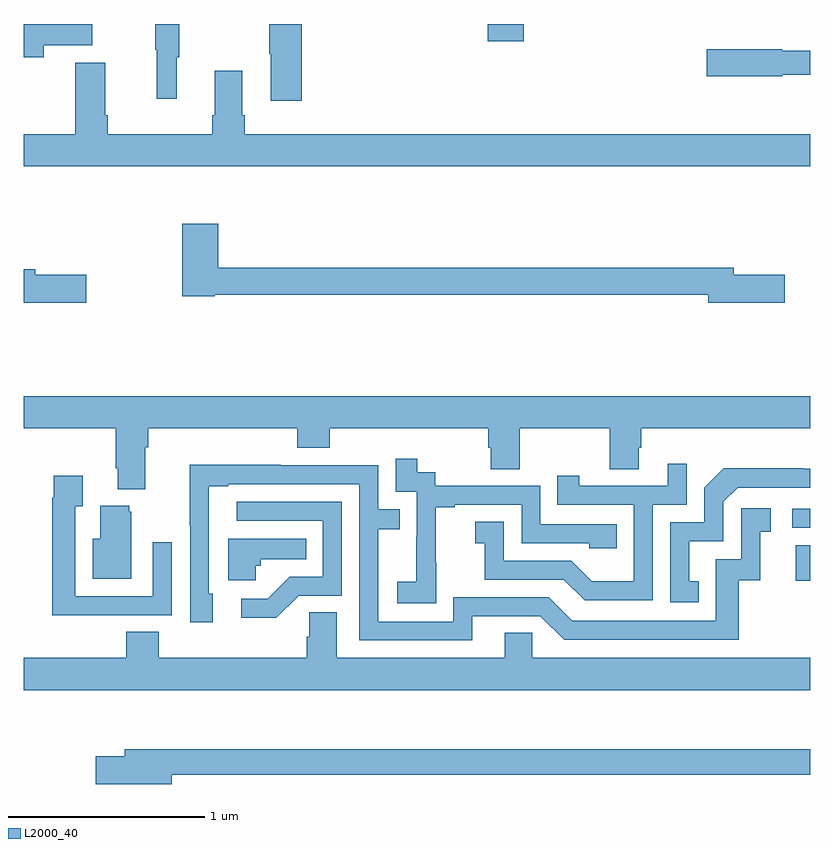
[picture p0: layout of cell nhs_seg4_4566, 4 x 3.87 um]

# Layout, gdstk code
import gdstk
lib = gdstk.Library(unit=1e-6, precision=1e-09)
def R(c, l, rs):  # rectangles x0, y0, x1, y1
    for r in rs: c.add(gdstk.rectangle(r[:2], r[2:], *l))
def P(c, l, *ps):  # polygons
    for p in ps: c.add(gdstk.Polygon(p, *l))
L2000_40 = (2000, 40)

nhs_seg4_4566 = lib.new_cell('nhs_seg4_4566')
R(nhs_seg4_4566, L2000_40, [(360.926,772.068,361,772.249), (360.909,772.338,361,772.434), (359.36,774.813,359.543,774.9)])
P(nhs_seg4_4566, L2000_40, [(357.101,774.791),(357.349,774.791),(357.349,774.9),(357,774.9),(357,774.732),(357.101,774.732)],
  [(358.415,774.9),(358.249,774.9),(358.249,774.748),(358.256,774.748),(358.256,774.51),(358.415,774.51)],
  [(357.779,774.731),(357.79,774.731),(357.79,774.9),(357.669,774.9),(357.669,774.768),(357.676,774.768),(357.676,774.519),(357.779,774.519)],
  [(360.858,774.642),(361,774.642),(361,774.763),(360.858,774.763),(360.858,774.771),(360.474,774.771),(360.474,774.634),(360.858,774.634)],
  [(361,774.34),(358.124,774.34),(358.124,774.436),(358.111,774.436),(358.111,774.661),(357.971,774.661),(357.971,774.436),(357.959,774.436),(357.959,774.34),(357.428,774.34),(357.428,774.436),(357.415,774.436),(357.415,774.703),(357.263,774.703),(357.263,774.34),(357,774.34),(357,774.176),(361,774.176)],
  [(360.871,773.624),(360.61,773.624),(360.61,773.66),(357.989,773.66),(357.989,773.884),(357.806,773.884),(357.806,773.516),(357.972,773.516),(357.972,773.524),(360.482,773.524),(360.482,773.482),(360.871,773.482)],
  [(357.319,773.624),(357.058,773.624),(357.058,773.653),(357,773.653),(357,773.482),(357.319,773.482)],
  [(357.619,772.748),(357.632,772.748),(357.632,772.844),(358.391,772.844),(358.391,772.745),(358.556,772.745),(358.556,772.844),(359.363,772.844),(359.363,772.746),(359.375,772.746),(359.375,772.636),(359.523,772.636),(359.523,772.844),(359.98,772.844),(359.98,772.636),(360.127,772.636),(360.127,772.746),(360.14,772.746),(360.14,772.844),(361,772.844),(361,773.008),(357,773.008),(357,772.844),(357.467,772.844),(357.467,772.642),(357.479,772.642),(357.479,772.535),(357.619,772.535)],
  [(359.097,772.159),(359.096,772.159),(359.096,772.443),(359.191,772.443),(359.191,772.455),(359.532,772.455),(359.532,772.26),(359.877,772.26),(359.877,772.233),(360.017,772.233),(360.017,772.356),(359.628,772.356),(359.628,772.551),(359.094,772.551),(359.094,772.62),(359.002,772.62),(359.002,772.69),(358.893,772.69),(358.893,772.521),(358.998,772.521),(358.998,772.292),(358.997,772.292),(358.997,772.063),(358.899,772.063),(358.899,771.953),(359.097,771.953)],
  [(360.198,772.455),(360.372,772.455),(360.372,772.663),(360.275,772.663),(360.275,772.551),(359.824,772.551),(359.824,772.603),(359.713,772.603),(359.713,772.455),(360.102,772.455),(360.102,772.066),(359.888,772.066),(359.784,772.17),(359.442,772.17),(359.442,772.369),(359.295,772.369),(359.295,772.259),(359.344,772.259),(359.344,772.074),(359.747,772.074),(359.852,771.969),(360.198,771.969)],
  [(359.281,771.888),(359.628,771.888),(359.748,771.768),(360.635,771.768),(360.635,772.071),(360.746,772.071),(360.746,772.317),(360.799,772.317),(360.799,772.438),(360.648,772.438),(360.648,772.179),(360.519,772.179),(360.519,771.864),(359.79,771.864),(359.67,771.984),(359.184,771.984),(359.184,771.861),(358.803,771.861),(358.803,772.33),(358.913,772.33),(358.913,772.431),(358.803,772.431),(358.803,772.656),(358.307,772.656),(358.307,772.658),(357.844,772.658),(357.844,772.351),(357.846,772.351),(357.846,771.858),(357.961,771.858),(357.961,772.002),(357.942,772.002),(357.942,772.548),(358.039,772.548),(358.039,772.56),(358.707,772.56),(358.707,771.765),(359.281,771.765)],
  [(360.434,772.065),(360.385,772.065),(360.385,772.269),(360.558,772.269),(360.558,772.47),(360.63,772.542),(361,772.542),(361,772.638),(360.968,772.638),(360.968,772.64),(360.56,772.64),(360.462,772.542),(360.462,772.365),(360.288,772.365),(360.288,771.96),(360.434,771.96)],
  [(357.437,771.894),(357.753,771.894),(357.753,772.264),(357.657,772.264),(357.657,771.99),(357.261,771.99),(357.261,772.447),(357.301,772.447),(357.301,772.603),(357.153,772.603),(357.153,772.49),(357.145,772.49),(357.145,771.893),(357.437,771.893)],
  [(358.398,771.993),(358.617,771.993),(358.617,772.47),(358.083,772.47),(358.083,772.374),(358.521,772.374),(358.521,772.089),(358.352,772.089),(358.241,771.978),(358.107,771.978),(358.107,771.881),(358.285,771.881)],
  [(357.547,772.419),(357.536,772.419),(357.536,772.45),(357.389,772.45),(357.389,772.282),(357.35,772.282),(357.35,772.079),(357.547,772.079)],
  [(358.179,772.146),(358.206,772.146),(358.206,772.178),(358.436,772.178),(358.436,772.282),(358.04,772.282),(358.04,772.07),(358.179,772.07)],
  [(361,771.676),(359.586,771.676),(359.586,771.803),(359.447,771.803),(359.447,771.676),(358.591,771.676),(358.591,771.908),(358.452,771.908),(358.452,771.785),(358.439,771.785),(358.439,771.676),(357.686,771.676),(357.686,771.809),(357.521,771.809),(357.521,771.676),(357,771.676),(357,771.512),(361,771.512)],
  [(357.754,771.082),(361,771.082),(361,771.211),(357.515,771.211),(357.515,771.177),(357.366,771.177),(357.366,771.035),(357.754,771.035)])

lib.write_gds('nhs_seg4_4566.gds')
